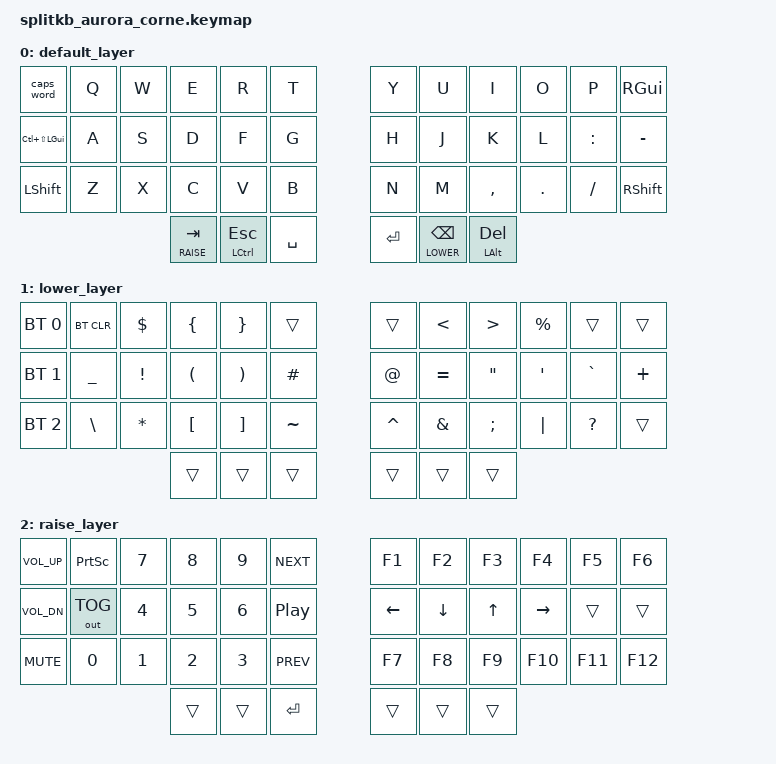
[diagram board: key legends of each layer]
/*
 * Copyright (c) 2020 The ZMK Contributors
 *
 * SPDX-License-Identifier: MIT
 */

#include <behaviors.dtsi>
#include <dt-bindings/zmk/keys.h>
#include <dt-bindings/zmk/bt.h>
#include <dt-bindings/zmk/outputs.h>

#define DEFAULT 0
#define LOWER   1
#define RAISE   2

&lt {
    quick-tap-ms = <200>;
    flavor = "balanced";
};

&mt {
    quick-tap-ms = <200>;
    flavor = "balanced";
};

&caps_word {
    continue-list = <UNDERSCORE MINUS BACKSPACE DELETE>;
};

/ {
    keymap {
        compatible = "zmk,keymap";

        default_layer {
            bindings = <
    &caps_word           &kp Q &kp W &kp E &kp R &kp T   &kp Y &kp U &kp I     &kp O   &kp P     &kp RGUI
    &kp LC(LS(LGUI)) &kp A &kp S &kp D &kp F &kp G   &kp H &kp J &kp K     &kp L   &kp COLON &kp MINUS
    &kp LSHFT            &kp Z &kp X &kp C &kp V &kp B   &kp N &kp M &kp COMMA &kp DOT &kp FSLH  &kp RSHFT
                 &lt RAISE TAB &mt LCTRL ESC &kp SPACE   &kp ENTER &lt LOWER BSPC &mt LALT DEL
            >;
         };

        lower_layer {
            bindings = <
    &bt BT_SEL 0 &bt BT_CLR &kp DLLR  &kp LBRC &kp RBRC &trans      &trans    &kp LT    &kp GT   &kp PRCNT &trans    &trans
    &bt BT_SEL 1 &kp UNDER  &kp EXCL  &kp LPAR &kp RPAR &kp HASH    &kp AT    &kp EQUAL &kp DQT  &kp SQT   &kp GRAVE &kp PLUS
    &bt BT_SEL 2 &kp BSLH   &kp ASTRK &kp LBKT &kp RBKT &kp TILDE   &kp CARET &kp AMPS  &kp SEMI &kp PIPE  &kp QMARK &trans
                                             &trans &trans &trans   &trans &trans &trans 
            >;
        };

        raise_layer {
            bindings = <
    &kp C_VOL_UP &kp PSCRN    &kp N7 &kp N8 &kp N9 &kp C_NEXT   &kp F1   &kp F2   &kp F3 &kp F4    &kp F5  &kp F6
    &kp C_VOL_DN &out OUT_TOG &kp N4 &kp N5 &kp N6 &kp C_PP     &kp LEFT &kp DOWN &kp UP &kp RIGHT &trans  &trans
    &kp C_MUTE   &kp N0       &kp N1 &kp N2 &kp N3 &kp C_PREV   &kp F7   &kp F8   &kp F9 &kp F10   &kp F11 &kp F12
                                      &trans &trans &kp ENTER   &trans &trans &trans 
            >;
        };
    };
};

